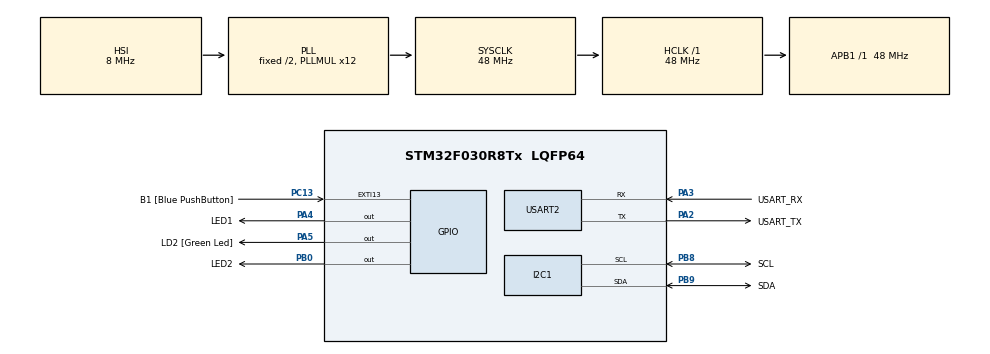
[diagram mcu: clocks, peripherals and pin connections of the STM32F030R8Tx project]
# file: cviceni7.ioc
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FREERTOS.Queues01=xVisualQueue,16,int16_t,0,Dynamic,NULL,NULL
FREERTOS.Tasks01=defaultTask,0,128,StartDefaultTask,Default,NULL,Dynamic,NULL,NULL;VisualTask,0,128,StartVisualTask,Default,NULL,Dynamic,NULL,NULL;AcceleroTask,0,128,StartAcceleroTask,Default,NULL,Dynamic,NULL,NULL
FREERTOS.configUSE_NEWLIB_REENTRANT=1
Mcu.Family=STM32F0
Mcu.Name=STM32F030R8Tx
Mcu.Package=LQFP64
NVIC.TIM14_IRQn=true\:3\:0\:false\:false\:true\:false\:false\:true\:true
NVIC.TimeBase=TIM14_IRQn
NVIC.TimeBaseIP=TIM14
PA13.GPIO_Label=TMS
PA13.Mode=Serial_Wire
PA13.Signal=SYS_SWDIO
PA14.GPIO_Label=TCK
PA14.Mode=Serial_Wire
PA14.Signal=SYS_SWCLK
PA2.GPIO_Label=USART_TX
PA2.GPIO_Mode=GPIO_MODE_AF_PP
PA2.GPIO_PuPd=GPIO_NOPULL
PA2.GPIO_Speed=GPIO_SPEED_FREQ_LOW
PA2.Mode=Asynchronous
PA2.Signal=USART2_TX
PA3.GPIO_Label=USART_RX
PA3.GPIO_Mode=GPIO_MODE_AF_PP
PA3.GPIO_PuPd=GPIO_NOPULL
PA3.GPIO_Speed=GPIO_SPEED_FREQ_LOW
PA3.Mode=Asynchronous
PA3.Signal=USART2_RX
PA4.GPIO_Label=LED1
PA4.Signal=GPIO_Output
PA5.GPIO_Label=LD2 [Green Led]
PA5.GPIO_Mode=GPIO_MODE_OUTPUT_PP
PA5.GPIO_PuPd=GPIO_NOPULL
PA5.GPIO_Speed=GPIO_SPEED_FREQ_LOW
PA5.Signal=GPIO_Output
PB0.GPIO_Label=LED2
PB0.Signal=GPIO_Output
PB8.GPIO_Label=SCL
PB8.Mode=I2C
PB8.Signal=I2C1_SCL
PB9.GPIO_Label=SDA
PB9.Mode=I2C
PB9.Signal=I2C1_SDA
PC13.GPIO_Label=B1 [Blue PushButton]
PC13.GPIO_ModeDefaultEXTI=GPIO_MODE_IT_FALLING
PC13.Signal=GPXTI13
PC14-OSC32_IN.Mode=LSE-External-Oscillator
PC14-OSC32_IN.Signal=RCC_OSC32_IN
PC15-OSC32_OUT.Mode=LSE-External-Oscillator
PC15-OSC32_OUT.Signal=RCC_OSC32_OUT
PF0-OSC_IN.Mode=HSE-External-Clock-Source
PF0-OSC_IN.Signal=RCC_OSC_IN
PF1-OSC_OUT.Signal=RCC_OSC_OUT
ProjectManager.HeapSize=0x200
ProjectManager.StackSize=0x400
ProjectManager.TargetToolchain=STM32CubeIDE
RCC.AHBFreq_Value=48000000
RCC.APB1Freq_Value=48000000
RCC.APB1TimFreq_Value=48000000
RCC.HCLKFreq_Value=48000000
RCC.PLLMUL=RCC_PLL_MUL12
RCC.SYSCLKFreq_VALUE=48000000
RCC.SYSCLKSource=RCC_SYSCLKSOURCE_PLLCLK
USART2.VirtualMode-Asynchronous=VM_ASYNC
VP_FREERTOS_VS_CMSIS_V1.Mode=CMSIS_V1
VP_SYS_VS_tim14.Mode=TIM14
board=NUCLEO-F030R8

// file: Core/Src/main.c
/* USER CODE BEGIN Header */
/**
  ******************************************************************************
  * @file           : main.c
  * @brief          : Main program body
  ******************************************************************************
  * @attention
  *
  * Copyright (c) 2023 STMicroelectronics.
  * All rights reserved.
  *
  * This software is licensed under terms that can be found in the LICENSE file
  * in the root directory of this software component.
  * If no LICENSE file comes with this software, it is provided AS-IS.
  *
  ******************************************************************************
  */
/* USER CODE END Header */
#include "main.h"
#include "cmsis_os.h"
#include "lis2dw12_reg.h"

I2C_HandleTypeDef hi2c1;

UART_HandleTypeDef huart2;

osThreadId defaultTaskHandle;
osThreadId VisualTaskHandle;
osThreadId AcceleroTaskHandle;
osMessageQId xVisualQueueHandle;

void SystemClock_Config(void);
static void MX_GPIO_Init(void);
static void MX_USART2_UART_Init(void);
static void MX_I2C1_Init(void);
void StartDefaultTask(void const * argument);
void StartVisualTask(void const * argument);
void StartAcceleroTask(void const * argument);

/* USER CODE BEGIN 0 */
int _write(int file, char const *buf, int n)
{
 /* stdout redirection to UART2 */
   HAL_UART_Transmit(&huart2, (uint8_t*)(buf), n, HAL_MAX_DELAY);
   return n;
}

static int32_t platform_write(void *handle, uint8_t reg, uint8_t *bufp, uint16_t len)
{
  HAL_I2C_Mem_Write(handle, LIS2DW12_I2C_ADD_H, reg, I2C_MEMADD_SIZE_8BIT, bufp, len, 1000);
  return 0;
}
static int32_t platform_read(void *handle, uint8_t reg, uint8_t *bufp, uint16_t len)
{
  HAL_I2C_Mem_Read(handle, LIS2DW12_I2C_ADD_H, reg, I2C_MEMADD_SIZE_8BIT, bufp, len, 1000);
  return 0;
}

static int32_t platform_write(void *handle, uint8_t reg, uint8_t *bufp, uint16_t len);
static int32_t platform_read(void *handle, uint8_t reg, uint8_t *bufp, uint16_t len);
static stmdev_ctx_t lis2dw12 = {
  .write_reg = platform_write,
  .read_reg = platform_read,
  .handle = &hi2c1,
};

/* USER CODE END 0 */

int main(void)
{

  /* MCU Configuration--------------------------------------------------------*/

  /* Reset of all peripherals, Initializes the Flash interface and the Systick. */
  HAL_Init();

  /* Configure the system clock */
  SystemClock_Config();

  /* Initialize all configured peripherals */
  MX_GPIO_Init();
  MX_USART2_UART_Init();
  MX_I2C1_Init();
  /* USER CODE BEGIN 2 */
  lis2dw12_full_scale_set(&lis2dw12, LIS2DW12_2g);
  lis2dw12_power_mode_set(&lis2dw12, LIS2DW12_CONT_LOW_PWR_LOW_NOISE_2);
  lis2dw12_block_data_update_set(&lis2dw12, PROPERTY_ENABLE);
  lis2dw12_fifo_mode_set(&lis2dw12, LIS2DW12_STREAM_MODE); // enable continuous FIFO
  lis2dw12_data_rate_set(&lis2dw12, LIS2DW12_XL_ODR_25Hz);
  /* USER CODE END 2 */

  /* Create the queue(s) */
  /* definition and creation of xVisualQueue */
  osMessageQDef(xVisualQueue, 16, int16_t);
  xVisualQueueHandle = osMessageCreate(osMessageQ(xVisualQueue), NULL);

  /* Create the thread(s) */
  /* definition and creation of defaultTask */
  osThreadDef(defaultTask, StartDefaultTask, osPriorityNormal, 0, 128);
  defaultTaskHandle = osThreadCreate(osThread(defaultTask), NULL);

  /* definition and creation of VisualTask */
  osThreadDef(VisualTask, StartVisualTask, osPriorityNormal, 0, 128);
  VisualTaskHandle = osThreadCreate(osThread(VisualTask), NULL);

  /* definition and creation of AcceleroTask */
  osThreadDef(AcceleroTask, StartAcceleroTask, osPriorityNormal, 0, 128);
  AcceleroTaskHandle = osThreadCreate(osThread(AcceleroTask), NULL);

  /* Start scheduler */
  osKernelStart();

  /* We should never get here as control is now taken by the scheduler */
  /* Infinite loop */
  while (1)
  {

  }
}

void SystemClock_Config(void)
{
  RCC_OscInitTypeDef RCC_OscInitStruct = {0};
  RCC_ClkInitTypeDef RCC_ClkInitStruct = {0};
  RCC_PeriphCLKInitTypeDef PeriphClkInit = {0};

  /** Initializes the RCC Oscillators according to the specified parameters
  * in the RCC_OscInitTypeDef structure.
  */
  RCC_OscInitStruct.OscillatorType = RCC_OSCILLATORTYPE_HSI;
  RCC_OscInitStruct.HSIState = RCC_HSI_ON;
  RCC_OscInitStruct.HSICalibrationValue = RCC_HSICALIBRATION_DEFAULT;
  RCC_OscInitStruct.PLL.PLLState = RCC_PLL_ON;
  RCC_OscInitStruct.PLL.PLLSource = RCC_PLLSOURCE_HSI;
  RCC_OscInitStruct.PLL.PLLMUL = RCC_PLL_MUL12;
  RCC_OscInitStruct.PLL.PREDIV = RCC_PREDIV_DIV1;
  if (HAL_RCC_OscConfig(&RCC_OscInitStruct) != HAL_OK)
  {
    Error_Handler();
  }

  /** Initializes the CPU, AHB and APB buses clocks
  */
  RCC_ClkInitStruct.ClockType = RCC_CLOCKTYPE_HCLK|RCC_CLOCKTYPE_SYSCLK
                              |RCC_CLOCKTYPE_PCLK1;
  RCC_ClkInitStruct.SYSCLKSource = RCC_SYSCLKSOURCE_PLLCLK;
  RCC_ClkInitStruct.AHBCLKDivider = RCC_SYSCLK_DIV1;
  RCC_ClkInitStruct.APB1CLKDivider = RCC_HCLK_DIV1;

  if (HAL_RCC_ClockConfig(&RCC_ClkInitStruct, FLASH_LATENCY_1) != HAL_OK)
  {
    Error_Handler();
  }
  PeriphClkInit.PeriphClockSelection = RCC_PERIPHCLK_I2C1;
  PeriphClkInit.I2c1ClockSelection = RCC_I2C1CLKSOURCE_HSI;
  if (HAL_RCCEx_PeriphCLKConfig(&PeriphClkInit) != HAL_OK)
  {
    Error_Handler();
  }
}

static void MX_I2C1_Init(void)
{

  hi2c1.Instance = I2C1;
  hi2c1.Init.Timing = 0x2000090E;
  hi2c1.Init.OwnAddress1 = 0;
  hi2c1.Init.AddressingMode = I2C_ADDRESSINGMODE_7BIT;
  hi2c1.Init.DualAddressMode = I2C_DUALADDRESS_DISABLE;
  hi2c1.Init.OwnAddress2 = 0;
  hi2c1.Init.OwnAddress2Masks = I2C_OA2_NOMASK;
  hi2c1.Init.GeneralCallMode = I2C_GENERALCALL_DISABLE;
  hi2c1.Init.NoStretchMode = I2C_NOSTRETCH_DISABLE;
  if (HAL_I2C_Init(&hi2c1) != HAL_OK)
  {
    Error_Handler();
  }

  /** Configure Analogue filter
  */
  if (HAL_I2CEx_ConfigAnalogFilter(&hi2c1, I2C_ANALOGFILTER_ENABLE) != HAL_OK)
  {
    Error_Handler();
  }

  /** Configure Digital filter
  */
  if (HAL_I2CEx_ConfigDigitalFilter(&hi2c1, 0) != HAL_OK)
  {
    Error_Handler();
  }

}

static void MX_USART2_UART_Init(void)
{

  huart2.Instance = USART2;
  huart2.Init.BaudRate = 38400;
  huart2.Init.WordLength = UART_WORDLENGTH_8B;
  huart2.Init.StopBits = UART_STOPBITS_1;
  huart2.Init.Parity = UART_PARITY_NONE;
  huart2.Init.Mode = UART_MODE_TX_RX;
  huart2.Init.HwFlowCtl = UART_HWCONTROL_NONE;
  huart2.Init.OverSampling = UART_OVERSAMPLING_16;
  huart2.Init.OneBitSampling = UART_ONE_BIT_SAMPLE_DISABLE;
  huart2.AdvancedInit.AdvFeatureInit = UART_ADVFEATURE_NO_INIT;
  if (HAL_UART_Init(&huart2) != HAL_OK)
  {
    Error_Handler();
  }

}

static void MX_GPIO_Init(void)
{
  GPIO_InitTypeDef GPIO_InitStruct = {0};

  /* GPIO Ports Clock Enable */
  __HAL_RCC_GPIOC_CLK_ENABLE();
  __HAL_RCC_GPIOF_CLK_ENABLE();
  __HAL_RCC_GPIOA_CLK_ENABLE();
  __HAL_RCC_GPIOB_CLK_ENABLE();

  /*Configure GPIO pin Output Level */
  HAL_GPIO_WritePin(GPIOA, LED1_Pin|LD2_Pin, GPIO_PIN_RESET);

  /*Configure GPIO pin Output Level */
  HAL_GPIO_WritePin(LED2_GPIO_Port, LED2_Pin, GPIO_PIN_RESET);

  /*Configure GPIO pin : B1_Pin */
  GPIO_InitStruct.Pin = B1_Pin;
  GPIO_InitStruct.Mode = GPIO_MODE_IT_FALLING;
  GPIO_InitStruct.Pull = GPIO_NOPULL;
  HAL_GPIO_Init(B1_GPIO_Port, &GPIO_InitStruct);

  /*Configure GPIO pins : LED1_Pin LD2_Pin */
  GPIO_InitStruct.Pin = LED1_Pin|LD2_Pin;
  GPIO_InitStruct.Mode = GPIO_MODE_OUTPUT_PP;
  GPIO_InitStruct.Pull = GPIO_NOPULL;
  GPIO_InitStruct.Speed = GPIO_SPEED_FREQ_LOW;
  HAL_GPIO_Init(GPIOA, &GPIO_InitStruct);

  /*Configure GPIO pin : LED2_Pin */
  GPIO_InitStruct.Pin = LED2_Pin;
  GPIO_InitStruct.Mode = GPIO_MODE_OUTPUT_PP;
  GPIO_InitStruct.Pull = GPIO_NOPULL;
  GPIO_InitStruct.Speed = GPIO_SPEED_FREQ_LOW;
  HAL_GPIO_Init(LED2_GPIO_Port, &GPIO_InitStruct);

}

void StartDefaultTask(void const * argument)
{
  for(;;)
  {
    osDelay(1);
  }
}

void StartVisualTask(void const * argument)
{
  /* USER CODE BEGIN StartVisualTask */
  /* Infinite loop */
  for(;;)
  {
		/*int16_t msg;

		 if (xQueueReceive(xVisualQueueHandle, &msg, portMAX_DELAY)) {
		 if (msg < -1000){
		 HAL_GPIO_WritePin(LED2_GPIO_Port, LED2_Pin, 0);
		 HAL_GPIO_WritePin(LED1_GPIO_Port, LED1_Pin, 1);
		 }
		 else if (msg > 1000){
		 HAL_GPIO_WritePin(LED2_GPIO_Port, LED2_Pin, 1);
		 HAL_GPIO_WritePin(LED1_GPIO_Port, LED1_Pin, 0);
		 }
		 else if ((msg < 1000) & (msg > -1000)){
		 HAL_GPIO_WritePin(LED2_GPIO_Port, LED2_Pin, 0);
		 HAL_GPIO_WritePin(LED1_GPIO_Port, LED1_Pin, 0);
		 }

		 }
		 */
		int16_t msg;
		if (xQueueReceive(xVisualQueueHandle, &msg, portMAX_DELAY)) {
			if (msg < -3000) {
				HAL_GPIO_WritePin(LED2_GPIO_Port, LED2_Pin, 0);
				HAL_GPIO_WritePin(LED1_GPIO_Port, LED1_Pin, 1);
			} else if (msg > 3000) {
				HAL_GPIO_WritePin(LED2_GPIO_Port, LED2_Pin, 1);
				HAL_GPIO_WritePin(LED1_GPIO_Port, LED1_Pin, 0);
			} else {
				HAL_GPIO_WritePin(LED2_GPIO_Port, LED2_Pin, 0);
				HAL_GPIO_WritePin(LED1_GPIO_Port, LED1_Pin, 0);
			}

		}
  }
  /* USER CODE END StartVisualTask */
}

void StartAcceleroTask(void const * argument)
{
  /* USER CODE BEGIN StartAcceleroTask */
  /* Infinite loop */
  for(;;)
  {
		/*
		 int16_t msg = 5000;
		 xQueueSend(xVisualQueueHandle, &msg, 0);
		 osDelay(300);
		 msg = 0;
		 xQueueSend(xVisualQueueHandle, &msg, 0);
		 osDelay(300);
		 msg = -5000;
		 xQueueSend(xVisualQueueHandle, &msg, 0);
		 osDelay(300);
		 msg = 0;
		 xQueueSend(xVisualQueueHandle, &msg, 0);
		 osDelay(300);
		 */
		/*uint8_t whoamI = 0;
		 lis2dw12_device_id_get(&lis2dw12, &whoamI);
		 printf("LIS2DW12_ID %s\n", (whoamI == LIS2DW12_ID) ? "OK" : "FAIL");
		 osDelay(300);
		 */
	    uint32_t Tick = xTaskGetTickCount();
		uint8_t samples;
		static uint32_t delay1;
		int16_t raw_acceleration[3];

		lis2dw12_fifo_data_level_get(&lis2dw12, &samples);
		for (uint8_t i = 0; i < samples; i++) {
			// Read acceleration data
			lis2dw12_acceleration_raw_get(&lis2dw12, raw_acceleration);
			int16_t msg = raw_acceleration[0];
			xQueueSend(xVisualQueueHandle, &msg, 0);
			if (Tick > delay1 + 1000) {
				printf("X=%d Y=%d Z=%d\n", raw_acceleration[0],raw_acceleration[1], raw_acceleration[2]);
				delay1 = Tick;
			}
			osDelay(10);
		}
	}
  /* USER CODE END StartAcceleroTask */
}

void HAL_TIM_PeriodElapsedCallback(TIM_HandleTypeDef *htim)
{
  if (htim->Instance == TIM14) {
    HAL_IncTick();
  }
}

void Error_Handler(void)
{
  __disable_irq();
  while (1)
  {
  }
}
